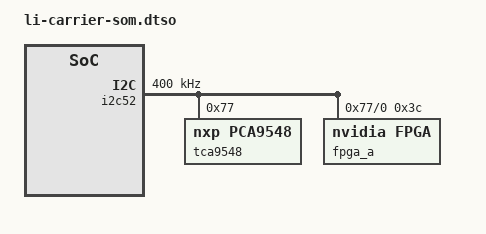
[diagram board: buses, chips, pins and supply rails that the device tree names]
// SPDX-License-Identifier: (GPL-2.0+ OR MIT)
/*
 * Copyright (c) 2026 SiMa ai
 */

/dts-v1/;
/plugin/;

&i2c52 {
	status = "okay";
	clock-frequency = <400000>;
	#address-cells = <1>;
	#size-cells = <0>;
	tca9548@77 {
		compatible = "nxp,pca9548";
		reg = <0x77>;
		status = "okay";
		i2c@0 {
			status = "okay";
			reg = <0>;
			#address-cells = <1>;
			#size-cells = <0>;

			fpga_a: fpga_a@3c {
				compatible = "nvidia,fpga";
				reg = <0x3c>;
				channel = "a";
			};
		}
	}
}
